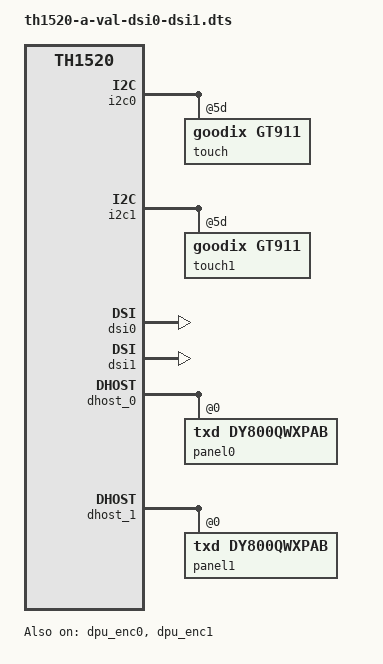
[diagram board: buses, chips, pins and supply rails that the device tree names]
/* SPDX-License-Identifier: GPL-2.0 */
/*
 * Copyright (C) 2021 Alibaba Group Holding Limited.
 */

/dts-v1/;

#include "th1520-a-val.dtsi"

&i2c0 {
	touch@5d {
		compatible = "goodix,gt911";
		touchscreen-size-x = <800>;
		touchscreen-size-y = <1280>;
		status = "okay";
	};
};

&i2c1 {
	touch1@5d {
		compatible = "goodix,gt911";
		touchscreen-size-x = <800>;
		touchscreen-size-y = <1280>;
		status = "okay";
	};
};

&dpu_enc0 {
	status = "okay";
};

&dpu_enc1 {
	status = "okay";
};

&dsi0 {
        status = "okay";
};

&dsi1 {
        status = "okay";
};

&dhost_0 {
	status = "okay";

	panel0@0 {
		compatible = "txd,dy800qwxpab";
	};
};

&dhost_1 {
	status = "okay";

	panel1@0 {
		compatible = "txd,dy800qwxpab";
	};
};
